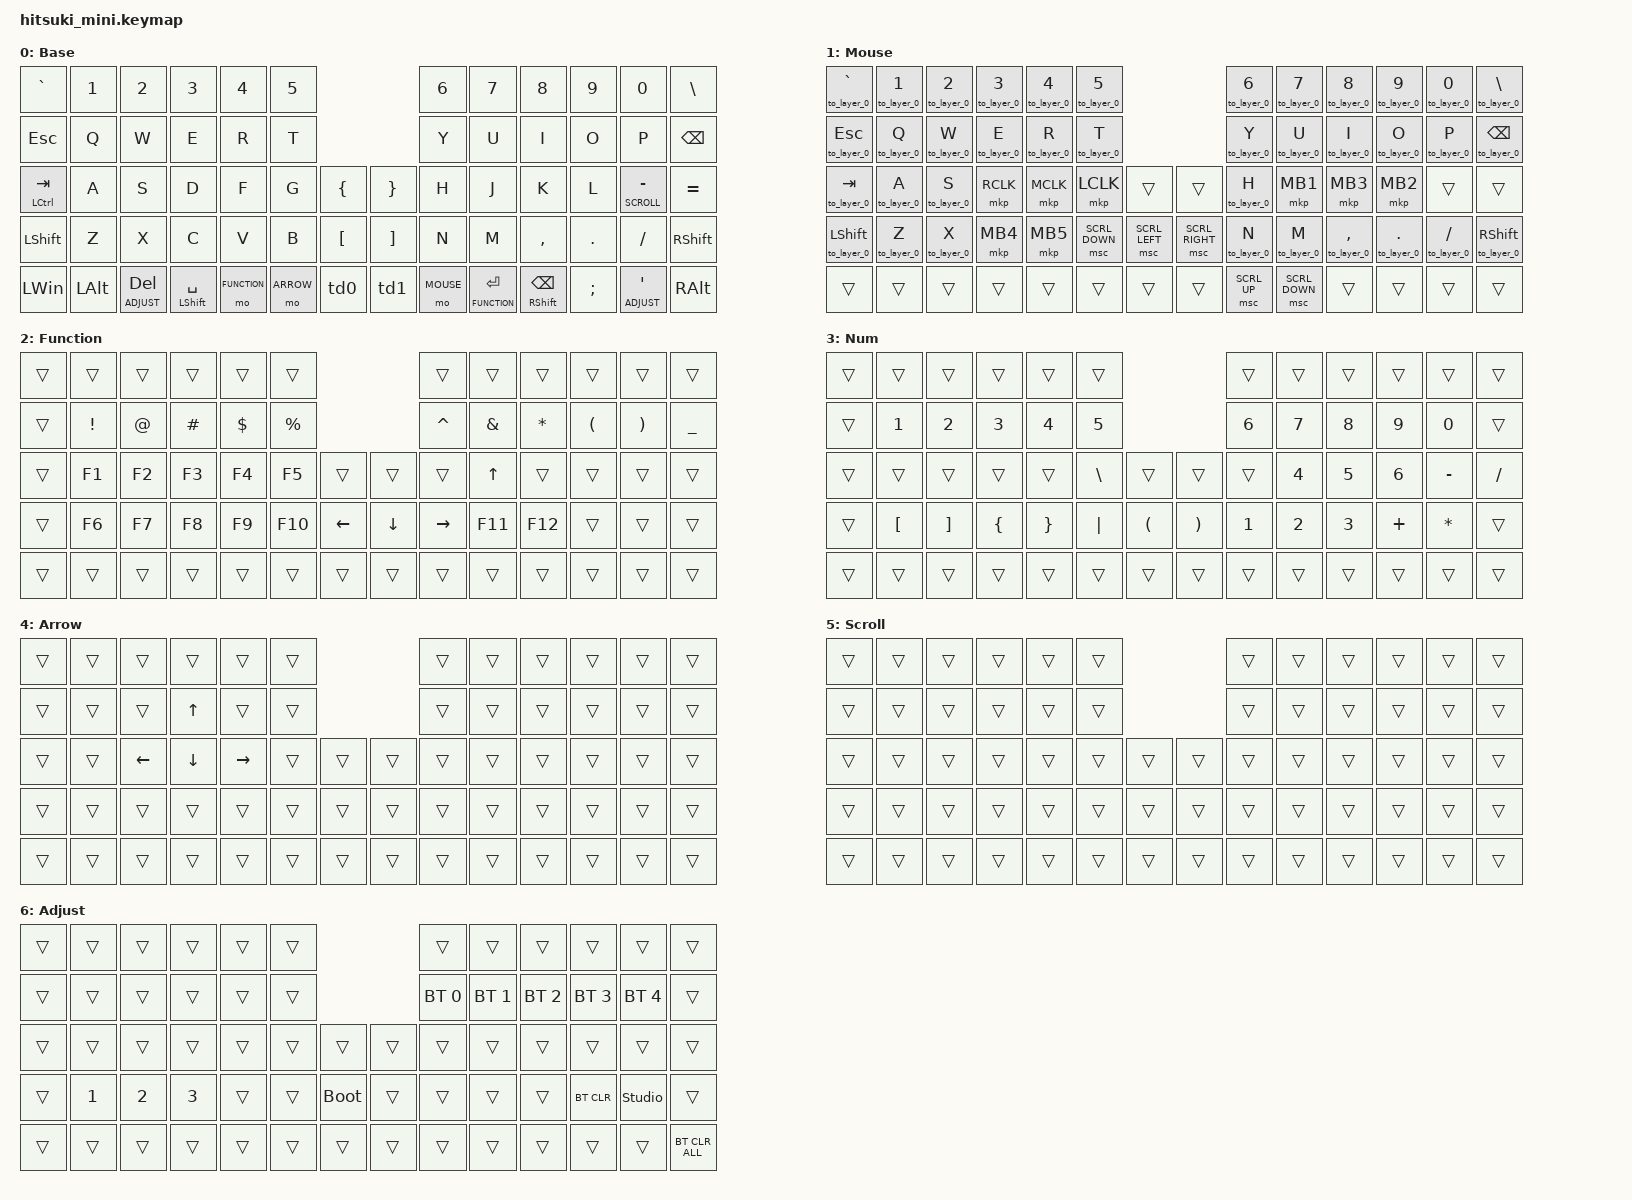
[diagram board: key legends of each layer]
#include <behaviors.dtsi>
#include <dt-bindings/zmk/bt.h>
#include <dt-bindings/zmk/input_transform.h>
#include <dt-bindings/zmk/keys.h>
#include <dt-bindings/zmk/outputs.h>
#define ZMK_POINTING_DEFAULT_SCRL_VAL 100
#include <dt-bindings/zmk/pointing.h>
#include <input/processors.dtsi>

#define BASE      0
#define MOUSE     1
#define FUNCTION  2
#define NUM       3
#define ARROW     4
#define SCROLL    5
#define ADJUST    6

&mt {
    flavor = "balanced";
    quick-tap-ms = <0>;
};

&sl { release-after-ms = <250>; };

/ {
    conditional_layers {
        compatible = "zmk,conditional-layers";

        tri_layer {
            if-layers = <FUNCTION NUM>;
            then-layer = <ADJUST>;
        };
    };
};

/ {
    behaviors {
        td0: tap_dance_0 {
            compatible = "zmk,behavior-tap-dance";
            #binding-cells = <0>;
            tapping-term-ms = <200>;
            bindings = <&mt LALT LANGUAGE_2>, <&mo FUNCTION>, <&mo MOUSE>;
        };

        td1: tap_dance_1 {
            compatible = "zmk,behavior-tap-dance";
            #binding-cells = <0>;
            tapping-term-ms = <200>;
            bindings = <&mt RCTL LANGUAGE_1>, <&mo NUM>, <&mo MOUSE>;
        };

        SandS: SandS {
            compatible = "zmk,behavior-hold-tap";
            #binding-cells = <2>;
            flavor = "tap-unless-interrupted";
            tapping-term-ms = <500>;
            quick-tap-ms = <500>;
            bindings = <&kp>, <&kp>;
            display-name = "SandS";
        };

        lt_to_layer_0: lt_to_layer_0 {
            compatible = "zmk,behavior-hold-tap";
            label = "LAYER_TAP_TO_0";
            bindings = <&mo>, <&to_layer_0>;
            #binding-cells = <2>;
            tapping-term-ms = <200>;
        };
    };
};

/ {
    combos {
        compatible = "zmk,combos";

        tab {
            bindings = <&kp TAB>;
            key-positions = <11 12>;
        };

        shift_tab {
            bindings = <&kp LS(TAB)>;
            key-positions = <12 13>;
        };

        muhennkann {
            bindings = <&to_layer_0 INT_MUHENKAN>;
            key-positions = <11 10>;
            layers = <MOUSE>;
        };

        double_quotation {
            bindings = <&kp DOUBLE_QUOTES>;
            key-positions = <20 21>;
        };

        eq {
            bindings = <&kp EQUAL>;
            key-positions = <24 25>;
        };
    };

    macros {
        to_layer_0: to_layer_0 {
            compatible = "zmk,behavior-macro-one-param";
            #binding-cells = <1>;
            bindings = <&tog MOUSE &macro_param_1to1 &kp MACRO_PLACEHOLDER>;
            label = "TO_layer_0";
        };

        mkp_exit_AML: mkp_exit_AML {
            compatible = "zmk,behavior-macro-one-param";
            #binding-cells = <1>;
            bindings =
                <&macro_press>,
                <&macro_param_1to1 &mkp MACRO_PLACEHOLDER>,
                <&macro_pause_for_release>,
                <&macro_release>,
                <&macro_param_1to1 &mkp MACRO_PLACEHOLDER>,
                <&macro_tap>,
                <&sl MOUSE>;
            label = "MKP_EXIT_AML";
        };
    };

    keymap {
        compatible = "zmk,keymap";

        default {
            display-name = "Base";
            bindings = <
&kp GRAVE       &kp N1         &kp N2         &kp N3               &kp N4             &kp N5        &kp N6                &kp N7                &kp N8                &kp N9                 &kp N0                &kp BACKSLASH
&kp ESCAPE      &kp Q          &kp W          &kp E                &kp R              &kp T         &kp Y                 &kp U                 &kp I                 &kp O                  &kp P                 &kp BACKSPACE
&mt LCTRL TAB   &kp A          &kp S          &kp D                &kp F              &kp G         &kp LEFT_BRACE        &kp RIGHT_BRACE       &kp H                 &kp J                  &kp K                 &kp L                &lt SCROLL MINUS      &kp EQUAL
&kp LEFT_SHIFT  &kp Z          &kp X          &kp C                &kp V              &kp B         &kp LEFT_BRACKET      &kp RIGHT_BRACKET     &kp N                 &kp M                  &kp COMMA             &kp PERIOD           &kp SLASH             &kp RSHFT
&kp LEFT_WIN    &kp LEFT_ALT   &lt ADJUST DELETE  &SandS LSHFT SPACE  &mo FUNCTION   &mo ARROW     &td0                  &td1                  &mo MOUSE             &lt FUNCTION ENTER     &mt RSHIFT BACKSPACE  &kp SEMICOLON        &lt ADJUST SINGLE_QUOTE  &kp RIGHT_ALT
            >;
        };

        MOUSE {
            display-name = "Mouse";
            bindings = <
&to_layer_0 GRAVE  &to_layer_0 N1  &to_layer_0 N2  &to_layer_0 N3  &to_layer_0 N4  &to_layer_0 N5    &to_layer_0 N6    &to_layer_0 N7    &to_layer_0 N8    &to_layer_0 N9  &to_layer_0 N0  &to_layer_0 BACKSLASH
&to_layer_0 ESCAPE  &to_layer_0 Q  &to_layer_0 W  &to_layer_0 E  &to_layer_0 R  &to_layer_0 T      &to_layer_0 Y     &to_layer_0 U     &to_layer_0 I     &to_layer_0 O   &to_layer_0 P   &to_layer_0 BACKSPACE
&to_layer_0 TAB      &to_layer_0 A  &to_layer_0 S  &mkp RCLK      &mkp MCLK      &mkp LCLK          &trans            &trans            &to_layer_0 H     &mkp MB1        &mkp MB3        &mkp MB2       &trans         &trans
&to_layer_0 LSHFT    &to_layer_0 Z  &to_layer_0 X  &mkp MB4       &mkp MB5       &msc SCRL_DOWN     &msc SCRL_LEFT    &msc SCRL_RIGHT   &to_layer_0 N     &to_layer_0 M   &to_layer_0 COMMA  &to_layer_0 PERIOD  &to_layer_0 SLASH  &to_layer_0 RSHFT
&trans               &trans         &trans          &trans         &trans         &trans             &trans            &trans            &msc SCRL_UP      &msc SCRL_DOWN  &trans             &trans              &trans             &trans
            >;
        };

        FUNCTION {
            display-name = "Function";
            bindings = <
&trans  &trans           &trans       &trans    &trans      &trans       &trans          &trans          &trans           &trans                &trans                 &trans
&trans  &kp EXCLAMATION  &kp AT_SIGN  &kp HASH  &kp DOLLAR  &kp PERCENT  &kp CARET       &kp AMPERSAND   &kp ASTERISK     &kp LEFT_PARENTHESIS  &kp RIGHT_PARENTHESIS  &kp UNDERSCORE
&trans  &kp F1           &kp F2       &kp F3    &kp F4      &kp F5       &trans          &trans          &trans           &kp UP                &trans                 &trans                &trans                 &trans
&trans  &kp F6           &kp F7       &kp F8    &kp F9      &kp F10      &kp LEFT_ARROW  &kp DOWN_ARROW  &kp RIGHT_ARROW  &kp F11               &kp F12                &trans                &trans                 &trans
&trans  &trans           &trans       &trans    &trans      &trans       &trans          &trans          &trans           &trans                &trans                 &trans                &trans                 &trans
            >;
        };

        NUM {
            display-name = "Num";
            bindings = <
&trans  &trans  &trans  &trans  &trans  &trans        &trans  &trans  &trans        &trans        &trans       &trans
&trans  &kp N1  &kp N2  &kp N3  &kp N4  &kp N5        &kp N6   &kp N7   &kp N8       &kp N9        &kp N0       &trans
&trans  &trans  &trans  &trans  &trans  &kp BACKSLASH &trans  &trans  &trans        &kp NUMBER_4  &kp NUMBER_5 &kp NUMBER_6  &kp MINUS  &kp SLASH
&trans  &kp LEFT_BRACKET  &kp RIGHT_BRACKET  &kp LEFT_BRACE  &kp RIGHT_BRACE  &kp PIPE  &kp LEFT_PARENTHESIS  &kp RIGHT_PARENTHESIS  &kp NUMBER_1  &kp NUMBER_2  &kp NUMBER_3  &kp PLUS  &kp ASTERISK  &trans
&trans  &trans  &trans  &trans  &trans  &trans        &trans  &trans  &trans        &trans        &trans       &trans        &trans     &trans
            >;
        };

        ARROW {
            display-name = "Arrow";
            bindings = <
&trans  &trans  &trans  &trans    &trans     &trans  &trans  &trans  &trans  &trans  &trans  &trans
&trans  &trans  &trans  &kp UP    &trans     &trans  &trans  &trans  &trans  &trans  &trans  &trans
&trans  &trans  &kp LEFT  &kp DOWN  &kp RIGHT  &trans  &trans  &trans  &trans  &trans  &trans  &trans  &trans  &trans
&trans  &trans  &trans    &trans    &trans     &trans  &trans  &trans  &trans  &trans  &trans  &trans  &trans  &trans
&trans  &trans  &trans    &trans    &trans     &trans  &trans  &trans  &trans  &trans  &trans  &trans  &trans  &trans
            >;
        };

        SCROLL {
            display-name = "Scroll";
            bindings = <
&trans  &trans  &trans  &trans  &trans  &trans  &trans  &trans  &trans  &trans  &trans  &trans
&trans  &trans  &trans  &trans  &trans  &trans  &trans  &trans  &trans  &trans  &trans  &trans
&trans  &trans  &trans  &trans  &trans  &trans  &trans  &trans  &trans  &trans  &trans  &trans  &trans  &trans
&trans  &trans  &trans  &trans  &trans  &trans  &trans  &trans  &trans  &trans  &trans  &trans  &trans  &trans
&trans  &trans  &trans  &trans  &trans  &trans  &trans  &trans  &trans  &trans  &trans  &trans  &trans  &trans
            >;
        };

        ADJUST {
            display-name = "Adjust";
            bindings = <
&trans       &trans  &trans  &trans  &trans  &trans  &trans        &trans        &trans        &trans        &trans        &trans
&trans       &trans  &trans  &trans  &trans  &trans  &bt BT_SEL 0  &bt BT_SEL 1  &bt BT_SEL 2  &bt BT_SEL 3  &bt BT_SEL 4  &trans
&trans       &trans  &trans  &trans  &trans  &trans  &trans        &trans        &trans        &trans        &trans        &trans      &trans          &trans
&trans       &kp NUMBER_1  &kp NUMBER_2  &kp NUMBER_3  &trans  &trans  &bootloader  &trans  &trans  &trans  &trans  &bt BT_CLR  &studio_unlock  &trans
&trans       &trans  &trans  &trans  &trans  &trans  &trans        &trans        &trans        &trans        &trans        &trans      &trans          &bt BT_CLR_ALL
            >;
        };

        extra1 { status = "reserved"; };

        extra2 { status = "reserved"; };
    };
};
